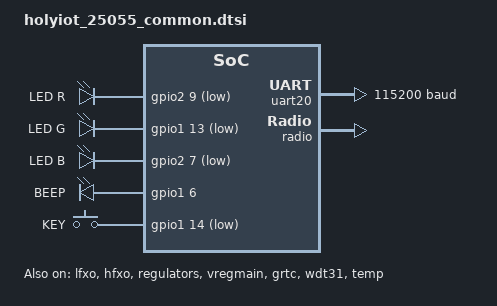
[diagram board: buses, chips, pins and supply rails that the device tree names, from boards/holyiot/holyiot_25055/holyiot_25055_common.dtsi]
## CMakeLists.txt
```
# SPDX-License-Identifier: Apache-2.0

cmake_minimum_required(VERSION 3.20.0)
find_package(Zephyr REQUIRED HINTS $ENV{ZEPHYR_BASE})
project(MockingBeacon)

# C sources (hardware drivers + GATT/BLE glue)
target_sources(app PRIVATE
    src/bq2512x.c
    src/watchdog.c
    src/lis2dw12.c
    src/gatt_glue.c
    src/ble_glue.c
)

# C++ sources
target_sources(app PRIVATE
    src/main.cpp
    src/beacon_logic.cpp
    src/accel_data.cpp
    src/beacon_config.cpp
    src/beacon_state.cpp
    src/zephyr_nvs.cpp
    src/zephyr_hardware.cpp
)

# Relax warnings on existing C code (pre-existing issues, will be replaced)
target_compile_options(app PRIVATE
    $<$<COMPILE_LANGUAGE:C>:
        -Wno-incompatible-pointer-types
    >
)

# C++ compiler flags
# Note: -Wpedantic omitted because Zephyr headers use C99 compound literals
# and named variadic macros which are invalid in strict C++.
# -Wcast-align, -Wconversion, -Wsign-conversion relaxed for Zephyr internal macros.
# -Wno-unused-parameter: Zephyr's flash.h:113 (flash_params_get_erase_cap)
# has a static inline whose body conditionally uses parameter `p` — when
# only FLASH_HAS_NO_EXPLICIT_ERASE is set (RRAM-only boards like the
# Holyiot 25055/nRF54L05, which have no external NOR flash), the fallback
# branch doesn't reference `p`. Treating that as a project-level error
# would block all RRAM-only board ports.
target_compile_options(app PRIVATE
    $<$<COMPILE_LANGUAGE:CXX>:
        -Wall -Wextra -Werror
        -Wno-missing-field-initializers
        -Wno-unused-parameter
        -fno-threadsafe-statics -fno-use-cxa-atexit
    >
)
```

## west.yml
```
manifest:
  remotes:
    - name: nrfconnect
      url-base: https://github.com/nrfconnect
  projects:
    - name: sdk-nrf
      remote: nrfconnect
      path: nrf
      revision: v3.4.2
      import: true
  self:
    path: mockingbeacon
```

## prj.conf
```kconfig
CONFIG_LOG=y
CONFIG_CONSOLE=y
CONFIG_USE_SEGGER_RTT=y
CONFIG_RTT_CONSOLE=y
CONFIG_ZMS_LOG_LEVEL_DBG=y

##CONFIG_LOG_MODE_IMMEDIATE=y

CONFIG_UART_CONSOLE=n
CONFIG_BT=y
CONFIG_BT_SETTINGS=n
CONFIG_BT_PRIVACY=n
CONFIG_BT_GATT_AUTHORIZATION_CUSTOM=y
CONFIG_SPI=n
CONFIG_PWM=n
##CONFIG_I2C=y

CONFIG_SERIAL=n
CONFIG_DYNAMIC_INTERRUPTS=n
CONFIG_IRQ_OFFLOAD=n
##CONFIG_THREAD_STACK_INFO=n
CONFIG_THREAD_CUSTOM_DATA=n
CONFIG_FPU=n
CONFIG_PM=y
CONFIG_PM_DEVICE=y
CONFIG_PM_DEVICE_RUNTIME=y
CONFIG_WATCHDOG=y
CONFIG_ADC=y
CONFIG_GPIO=y
##CONFIG_BOARD_ENABLE_DCDC=y
CONFIG_POWEROFF=y

CONFIG_NEWLIB_LIBC=y
CONFIG_NEWLIB_LIBC_NANO=y

CONFIG_BT_CTLR_TX_PWR_DYNAMIC_CONTROL=y
#CONFIG_CLOCK_CONTROL_NRF_K32SRC_RC=y
#CONFIG_CLOCK_CONTROL_NRF_K32SRC_500PPM=y

CONFIG_BT_PERIPHERAL=y

CONFIG_BT_DEBUG_NONE=y
CONFIG_BT_ASSERT=n
CONFIG_BT_DATA_LEN_UPDATE=n
CONFIG_BT_PHY_UPDATE=n
CONFIG_BT_GATT_CACHING=n
CONFIG_BT_GATT_SERVICE_CHANGED=n
CONFIG_BT_GAP_PERIPHERAL_PREF_PARAMS=y
##CONFIG_BT_HCI_VS_EXT=y
# Disable Bluetooth controller features not needed
CONFIG_BT_CTLR_PRIVACY=n
CONFIG_BT_CTLR_PHY_2M=n

# Reduce Bluetooth buffers

CONFIG_BT_BUF_EVT_DISCARDABLE_COUNT=1
CONFIG_BT_BUF_EVT_DISCARDABLE_SIZE=43
# Zephyr 4.x BUILD_ASSERT (include/zephyr/bluetooth/buf.h:168-172):
#   BT_BUF_EVT_RX_COUNT must be > BT_BUF_ACL_TX_COUNT (=3 below).
CONFIG_BT_BUF_EVT_RX_COUNT=4
##CONFIG_BT_CONN_TX_MAX=2
CONFIG_BT_L2CAP_TX_BUF_COUNT=2
##CONFIG_BT_CTLR_RX_BUFFERS=2
CONFIG_BT_BUF_ACL_TX_COUNT=3
CONFIG_BT_BUF_ACL_TX_SIZE=27
#CONFIG_BT_BUF_ACL_RX_SIZE=27

CONFIG_BT_RX_STACK_SIZE=1024
CONFIG_BT_HCI_TX_STACK_SIZE=640
CONFIG_SYSTEM_WORKQUEUE_STACK_SIZE=1024
CONFIG_MAIN_STACK_SIZE=1024
CONFIG_IDLE_STACK_SIZE=128
CONFIG_ISR_STACK_SIZE=1024

CONFIG_FLASH=y
# NCS 3.2+ no longer auto-selects FLASH_MAP from FLASH; ZMS depends on it.
CONFIG_FLASH_MAP=y
# ZMS settings backend (explicit enable + NVS disable). NCS 3.0+ makes ZMS
# the default for Cortex-M; we pin both to avoid silent default flips.
# CONFIG_SETTINGS_ZMS_MAX_COLLISIONS_BITS is N/A for this firmware — we
# use direct zms_read()/zms_write() with hand-assigned uint16_t IDs
# (src/beacon_nvs_ids.hpp), not the BT_SETTINGS framework.
CONFIG_ZMS=y
CONFIG_NVS=n
CONFIG_ZMS_LOOKUP_CACHE=y
# ZMS_LOOKUP_CACHE_FOR_SETTINGS removed: depends on SETTINGS_ZMS which
# requires BT_SETTINGS (we have BT_SETTINGS=n). Was silently ignored in
# NCS 3.0-3.1; NCS 3.2 treats it as an error.
# 128 B RAM on nrf52810 (16 × 8 B/entry). Bump to 64 on nrf54l15 only
# (512 B) via board overlay if settings lookup becomes hot.
CONFIG_ZMS_LOOKUP_CACHE_SIZE=16
CONFIG_REBOOT=y
CONFIG_MPU_ALLOW_FLASH_WRITE=y

# RAM/flash savers for Zephyr 4.x defaults (per migration plan §1d):
# - LOG_BUFFER_SIZE: default rose to 1024 in 4.x; 512 saves ~512 B bss.
# - CBPRINTF_REDUCED_INTEGRAL: drop 64-bit printf paths; ~400-800 B text.
# - BT_HCI_ACL_FLOW_CONTROL: needed only for >1 conn; ~150 B for our 1-conn case.
# - BT_LONG_WQ: defaults n (BT_GATT_CACHING=n above); explicit pin against
#   future Kconfig flips; ~1 KB if it ever auto-enables.
CONFIG_LOG_BUFFER_SIZE=512
CONFIG_CBPRINTF_REDUCED_INTEGRAL=y
CONFIG_BT_HCI_ACL_FLOW_CONTROL=n
CONFIG_BT_LONG_WQ=n
# Plan §1g additional levers (post-stack-pinning audit):
# - BT_CTLR_DUP_FILTER_LEN=0: scanner-only feature; BT_OBSERVER=n here
#   (we're peripheral-only). Saves ~200-400 B bss on nrf52810.
# Note: plan also suggested CONFIG_BT_CONN_TX_MAX=2 but Kconfig minimum
# is 3 in NCS 3.0.2 (range [3, 255] at subsys/bluetooth/host/Kconfig:330).
CONFIG_BT_CTLR_DUP_FILTER_LEN=0

# C++ support
CONFIG_CPP=y
CONFIG_STD_CPP20=y
CONFIG_GLIBCXX_LIBCPP=y
CONFIG_CPP_EXCEPTIONS=n
CONFIG_CPP_RTTI=n
```

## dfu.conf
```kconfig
# MCUmgr/MCUboot OTA overlay — use via EXTRA_CONF_FILE=dfu.conf
# For boards with >= 512KB flash (nRF52832, nRF52833, nRF54L15).
# Composes with prj.conf or prj-lowpower.conf; do NOT use standalone.
#
# Reference: zephyr/samples/subsys/mgmt/mcumgr/smp_svr/
#   prj.conf (core MCUmgr) + overlay-bt.conf (BLE transport)

# MCUmgr core + dependencies (from smp_svr/prj.conf)
CONFIG_NET_BUF=y
CONFIG_ZCBOR=y
CONFIG_CRC=y
CONFIG_MCUMGR=y
CONFIG_STREAM_FLASH=y
CONFIG_FLASH_MAP=y
CONFIG_BOOTLOADER_MCUBOOT=y

# Image management (upload, list, confirm, erase)
CONFIG_IMG_MANAGER=y
CONFIG_MCUMGR_GRP_IMG=y

# OS management (reset after upload)
CONFIG_MCUMGR_GRP_OS=y
# Note: CONFIG_MCUMGR_GRP_OS_RESET_NOTIFICATION not available in NCS 2.8.0

# Larger stacks for image hashing/flash writes (from smp_svr/prj.conf)
CONFIG_SYSTEM_WORKQUEUE_STACK_SIZE=2304
CONFIG_MAIN_STACK_SIZE=2048

# BLE transport (from smp_svr/overlay-bt.conf)
CONFIG_MCUMGR_TRANSPORT_BT=y
CONFIG_MCUMGR_TRANSPORT_BT_CONN_PARAM_CONTROL=y

# Large BT buffers for SMP throughput
CONFIG_BT_L2CAP_TX_MTU=498
CONFIG_BT_BUF_ACL_RX_SIZE=502
CONFIG_BT_BUF_ACL_TX_SIZE=502
# BT_CTLR_DATA_LENGTH_MAX=251 requires BT_LL_SW_SPLIT; SDC handles this internally

# SMP reassembly: 5 BLE writes at MTU 498 (from smp_svr/overlay-bt.conf)
CONFIG_MCUMGR_TRANSPORT_BT_REASSEMBLY=y
CONFIG_MCUMGR_TRANSPORT_NETBUF_SIZE=2475
CONFIG_MCUMGR_GRP_OS_MCUMGR_PARAMS=y
CONFIG_MCUMGR_TRANSPORT_WORKQUEUE_STACK_SIZE=4608

# Dynamic SMP service registration — unregistered at boot, only active
# during FirmwareUpload state (security: prevents unauthenticated access).
# Requires BT_GATT_SERVICE_CHANGED (overrides prj.conf's =n).
CONFIG_BT_GATT_SERVICE_CHANGED=y
CONFIG_BT_GATT_DYNAMIC_DB=y
CONFIG_MCUMGR_TRANSPORT_BT_DYNAMIC_SVC_REGISTRATION=y

# Flash write permission (needed for image slot writes)
CONFIG_MPU_ALLOW_FLASH_WRITE=y
```

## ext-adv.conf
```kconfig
# Extended advertising — boards with >= 64 KB RAM only.
# nrf52810 (24 KB) overflows by ~2 KB with SDC multirole variant.
CONFIG_BT_EXT_ADV=y
CONFIG_BT_EXT_ADV_MAX_ADV_SET=2
CONFIG_BT_BUF_EVT_DISCARDABLE_SIZE=58
```

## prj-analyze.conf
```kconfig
CONFIG_LOG=y
CONFIG_CONSOLE=y
CONFIG_USE_SEGGER_RTT=y
CONFIG_RTT_CONSOLE=y
CONFIG_NVS_LOG_LEVEL_DBG=y

CONFIG_THREAD_ANALYZER=y
CONFIG_THREAD_ANALYZER_USE_PRINTK=y
CONFIG_THREAD_ANALYZER_AUTO=y
CONFIG_THREAD_ANALYZER_AUTO_INTERVAL=10
CONFIG_THREAD_NAME=y
CONFIG_THREAD_MONITOR=y
CONFIG_THREAD_RUNTIME_STATS=y

CONFIG_NEWLIB_LIBC=y
CONFIG_NEWLIB_LIBC_NANO=y
CONFIG_RAM_POWER_DOWN_LIBRARY=y
CONFIG_RAM_POWER_ADJUST_ON_HEAP_RESIZE=y


##CONFIG_LOG_MODE_IMMEDIATE=y

CONFIG_UART_CONSOLE=n
CONFIG_BT=y
CONFIG_BT_SETTINGS=n
CONFIG_BT_PRIVACY=n
CONFIG_BT_GATT_AUTHORIZATION_CUSTOM=y
CONFIG_SPI=n
CONFIG_PWM=n
##CONFIG_I2C=y

CONFIG_SERIAL=n
CONFIG_DYNAMIC_INTERRUPTS=n
CONFIG_IRQ_OFFLOAD=n
##CONFIG_THREAD_STACK_INFO=n
CONFIG_THREAD_CUSTOM_DATA=n
CONFIG_FPU=n
CONFIG_PM=y
CONFIG_PM_DEVICE=y
CONFIG_PM_DEVICE_RUNTIME=y
CONFIG_WATCHDOG=y
CONFIG_ADC=y
CONFIG_GPIO=y
##CONFIG_BOARD_ENABLE_DCDC=y
CONFIG_POWEROFF=y

CONFIG_BT_CTLR_TX_PWR_DYNAMIC_CONTROL=y
#CONFIG_CLOCK_CONTROL_NRF_K32SRC_RC=y
#CONFIG_CLOCK_CONTROL_NRF_K32SRC_500PPM=y

CONFIG_BT_PERIPHERAL=y

CONFIG_BT_DEBUG_NONE=y
CONFIG_BT_ASSERT=n
CONFIG_BT_DATA_LEN_UPDATE=n
CONFIG_BT_PHY_UPDATE=n
CONFIG_BT_GATT_CACHING=n
CONFIG_BT_GATT_SERVICE_CHANGED=n
CONFIG_BT_GAP_PERIPHERAL_PREF_PARAMS=y
CONFIG_BT_SETTINGS_CCC_LAZY_LOADING=n
##CONFIG_BT_HCI_VS_EXT=y
# Disable Bluetooth controller features not needed
CONFIG_BT_CTLR_PRIVACY=n
CONFIG_BT_CTLR_PHY_2M=n

# Reduce Bluetooth buffers

CONFIG_BT_BUF_EVT_DISCARDABLE_COUNT=1
CONFIG_BT_BUF_EVT_DISCARDABLE_SIZE=43
CONFIG_BT_BUF_EVT_RX_COUNT=2
##CONFIG_BT_CONN_TX_MAX=2
CONFIG_BT_L2CAP_TX_BUF_COUNT=2
##CONFIG_BT_CTLR_RX_BUFFERS=2
CONFIG_BT_BUF_ACL_TX_COUNT=3
CONFIG_BT_BUF_ACL_TX_SIZE=27
#CONFIG_BT_BUF_ACL_RX_SIZE=27

CONFIG_BT_RX_STACK_SIZE=1024
CONFIG_BT_HCI_TX_STACK_SIZE_WITH_PROMPT=y
CONFIG_BT_HCI_TX_STACK_SIZE=640
CONFIG_SYSTEM_WORKQUEUE_STACK_SIZE=1024
CONFIG_MAIN_STACK_SIZE=1024
CONFIG_IDLE_STACK_SIZE=128
CONFIG_ISR_STACK_SIZE=1024

CONFIG_FLASH=y
CONFIG_NVS=y
CONFIG_REBOOT=y
CONFIG_MPU_ALLOW_FLASH_WRITE=y
CONFIG_MCUMGR=n
CONFIG_BOOTLOADER_MCUBOOT=n

# C++ support
CONFIG_CPP=y
CONFIG_STD_CPP20=y
CONFIG_GLIBCXX_LIBCPP=y
CONFIG_CPP_EXCEPTIONS=n
CONFIG_CPP_RTTI=n
```

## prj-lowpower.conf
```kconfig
# Release/production overlay — apply via -DEXTRA_CONF_FILE=prj-lowpower.conf
# on top of prj.conf. Strips logging + RTT subsystem (saves ~21 KB of flash).
#
# Note: do NOT set CONFIG_GPIO=n here — main.cpp references LED GPIO devices
# unconditionally, and the board defconfig auto-enables GPIO for Nordic SoCs.

CONFIG_LOG=n
CONFIG_CONSOLE=n
CONFIG_USE_SEGGER_RTT=n
CONFIG_RTT_CONSOLE=n
CONFIG_ZMS_LOG_LEVEL_DBG=n
```

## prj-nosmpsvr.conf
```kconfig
# Enable MCUmgr and dependencies.
CONFIG_LOG=y
CONFIG_CONSOLE=y
CONFIG_USE_SEGGER_RTT=y
CONFIG_RTT_CONSOLE=y
CONFIG_NVS_LOG_LEVEL_DBG=y

CONFIG_UART_CONSOLE=n

CONFIG_NET_BUF=n
CONFIG_ZCBOR=n
CONFIG_CRC=y
CONFIG_MCUMGR=n
CONFIG_STREAM_FLASH=n
CONFIG_FLASH_MAP=y

# Some command handlers require a large stack.
CONFIG_SYSTEM_WORKQUEUE_STACK_SIZE=2304
CONFIG_MAIN_STACK_SIZE=2176

# Ensure an MCUboot-compatible binary is generated.
CONFIG_BOOTLOADER_MCUBOOT=n

# Enable flash operations.
CONFIG_FLASH=y

# Required by the `taskstat` command.
CONFIG_THREAD_MONITOR=n

# Support for taskstat command
CONFIG_MCUMGR_GRP_OS_TASKSTAT=n

# Enable statistics and statistic names.
CONFIG_STATS=n
CONFIG_STATS_NAMES=n

# Enable most core commands.
CONFIG_FLASH=y
CONFIG_IMG_MANAGER=n
CONFIG_MCUMGR_GRP_IMG=n
CONFIG_MCUMGR_GRP_OS=n
CONFIG_MCUMGR_GRP_STAT=n

# Enable logging
CONFIG_LOG=y
CONFIG_MCUBOOT_UTIL_LOG_LEVEL_WRN=n

# Disable debug logging
CONFIG_LOG_MAX_LEVEL=3

CONFIG_BT=y
CONFIG_BT_PERIPHERAL=y
CONFIG_BT_GATT_AUTHORIZATION_CUSTOM=y

# Allow for large Bluetooth data packets.
CONFIG_BT_L2CAP_TX_MTU=498
CONFIG_BT_BUF_ACL_RX_SIZE=502
CONFIG_BT_BUF_ACL_TX_SIZE=502
CONFIG_BT_CTLR_DATA_LENGTH_MAX=251

# Enable the Bluetooth mcumgr transport (unauthenticated).
CONFIG_MCUMGR_TRANSPORT_BT=y
CONFIG_MCUMGR_TRANSPORT_BT_CONN_PARAM_CONTROL=y

# Enable the Shell mcumgr transport.
CONFIG_BASE64=y
CONFIG_CRC=y
CONFIG_SHELL=n
CONFIG_SHELL_BACKEND_SERIAL=n
CONFIG_MCUMGR_TRANSPORT_SHELL=y

# Enable the mcumgr Packet Reassembly feature over Bluetooth and its configuration dependencies.
# MCUmgr buffer size is optimized to fit one SMP packet divided into five Bluetooth Write Commands,
# transmitted with the maximum possible MTU value: 498 bytes.
CONFIG_MCUMGR_TRANSPORT_BT_REASSEMBLY=y
CONFIG_MCUMGR_TRANSPORT_NETBUF_SIZE=2475
CONFIG_MCUMGR_GRP_OS_MCUMGR_PARAMS=y
CONFIG_MCUMGR_TRANSPORT_WORKQUEUE_STACK_SIZE=4608

# Enable the LittleFS file system.
CONFIG_FILE_SYSTEM=n
CONFIG_FILE_SYSTEM_LITTLEFS=n

# Enable file system commands
CONFIG_MCUMGR_GRP_FS=y

# Enable the storage erase command.
CONFIG_MCUMGR_GRP_ZBASIC=y
CONFIG_MCUMGR_GRP_ZBASIC_STORAGE_ERASE=n

# Disable Bluetooth ping support
CONFIG_BT_CTLR_LE_PING=n

# Disable shell commands that are not needed
CONFIG_CLOCK_CONTROL_NRF_SHELL=n
CONFIG_DEVICE_SHELL=n
CONFIG_DEVMEM_SHELL=n
CONFIG_FLASH_SHELL=n
CONFIG_BT_CTLR_TX_PWR_DYNAMIC_CONTROL=y
CONFIG_PM=y
CONFIG_PM_DEVICE=y
CONFIG_PM_DEVICE_RUNTIME=y
CONFIG_WATCHDOG=y
CONFIG_ADC=y
CONFIG_GPIO=y
CONFIG_POWEROFF=y
CONFIG_NVS=y
CONFIG_REBOOT=y
CONFIG_MPU_ALLOW_FLASH_WRITE=y

CONFIG_SPI=n
CONFIG_PWM=n
CONFIG_SERIAL=n
CONFIG_DYNAMIC_INTERRUPTS=n
CONFIG_IRQ_OFFLOAD=n
##CONFIG_THREAD_STACK_INFO=n
CONFIG_THREAD_CUSTOM_DATA=n
CONFIG_FPU=n

# C++ support
CONFIG_CPP=y
CONFIG_STD_CPP20=y
CONFIG_GLIBCXX_LIBCPP=y
CONFIG_CPP_EXCEPTIONS=n
CONFIG_CPP_RTTI=n
```

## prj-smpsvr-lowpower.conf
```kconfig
# Enable MCUmgr and dependencies.
CONFIG_LOG=n
CONFIG_CONSOLE=n
CONFIG_USE_SEGGER_RTT=n
CONFIG_RTT_CONSOLE=n
CONFIG_NVS_LOG_LEVEL_DBG=n

CONFIG_UART_CONSOLE=n

CONFIG_NET_BUF=y
CONFIG_ZCBOR=y
CONFIG_CRC=y
CONFIG_MCUMGR=y
CONFIG_STREAM_FLASH=y
CONFIG_FLASH_MAP=y

CONFIG_NEWLIB_LIBC=y
CONFIG_NEWLIB_LIBC_NANO=y
CONFIG_RAM_POWER_DOWN_LIBRARY=y
CONFIG_RAM_POWER_ADJUST_ON_HEAP_RESIZE=y

# Some command handlers require a large stack.
CONFIG_SYSTEM_WORKQUEUE_STACK_SIZE=2304
CONFIG_MAIN_STACK_SIZE=2176

# Ensure an MCUboot-compatible binary is generated.
CONFIG_BOOTLOADER_MCUBOOT=y

# Enable flash operations.
CONFIG_FLASH=y

# Required by the `taskstat` command.
CONFIG_THREAD_MONITOR=y

# Support for taskstat command
CONFIG_MCUMGR_GRP_OS_TASKSTAT=y

# Enable statistics and statistic names.
CONFIG_STATS=y
CONFIG_STATS_NAMES=y

# Enable most core commands.
CONFIG_FLASH=y
CONFIG_IMG_MANAGER=y
CONFIG_MCUMGR_GRP_IMG=y
CONFIG_MCUMGR_GRP_OS=y
CONFIG_MCUMGR_GRP_STAT=y

# Enable logging
CONFIG_LOG=y
CONFIG_MCUBOOT_UTIL_LOG_LEVEL_WRN=y

# Disable debug logging
CONFIG_LOG_MAX_LEVEL=3

CONFIG_BT=y
CONFIG_BT_PERIPHERAL=y
CONFIG_BT_GATT_AUTHORIZATION_CUSTOM=y

# Allow for large Bluetooth data packets.
CONFIG_BT_L2CAP_TX_MTU=498
CONFIG_BT_BUF_ACL_RX_SIZE=502
CONFIG_BT_BUF_ACL_TX_SIZE=502
CONFIG_BT_CTLR_DATA_LENGTH_MAX=251

# Enable the Bluetooth mcumgr transport (unauthenticated).
CONFIG_MCUMGR_TRANSPORT_BT=y
CONFIG_MCUMGR_TRANSPORT_BT_CONN_PARAM_CONTROL=y

# Enable the Shell mcumgr transport.
CONFIG_BASE64=y
CONFIG_CRC=y
CONFIG_SHELL=n
CONFIG_SHELL_BACKEND_SERIAL=n
CONFIG_MCUMGR_TRANSPORT_SHELL=y

# Enable the mcumgr Packet Reassembly feature over Bluetooth and its configuration dependencies.
# MCUmgr buffer size is optimized to fit one SMP packet divided into five Bluetooth Write Commands,
# transmitted with the maximum possible MTU value: 498 bytes.
CONFIG_MCUMGR_TRANSPORT_BT_REASSEMBLY=y
CONFIG_MCUMGR_TRANSPORT_NETBUF_SIZE=2475
CONFIG_MCUMGR_GRP_OS_MCUMGR_PARAMS=y
CONFIG_MCUMGR_TRANSPORT_WORKQUEUE_STACK_SIZE=4608

# Enable the LittleFS file system.
CONFIG_FILE_SYSTEM=n
CONFIG_FILE_SYSTEM_LITTLEFS=n

# Enable file system commands
CONFIG_MCUMGR_GRP_FS=y

# Enable the storage erase command.
CONFIG_MCUMGR_GRP_ZBASIC=y
CONFIG_MCUMGR_GRP_ZBASIC_STORAGE_ERASE=n

# Disable Bluetooth ping support
CONFIG_BT_CTLR_LE_PING=n

# Disable shell commands that are not needed
CONFIG_CLOCK_CONTROL_NRF_SHELL=n
CONFIG_DEVICE_SHELL=n
CONFIG_DEVMEM_SHELL=n
CONFIG_FLASH_SHELL=n
CONFIG_BT_CTLR_TX_PWR_DYNAMIC_CONTROL=y
CONFIG_PM=y
CONFIG_PM_DEVICE=y
CONFIG_PM_DEVICE_RUNTIME=y
CONFIG_WATCHDOG=y
CONFIG_ADC=y
CONFIG_GPIO=y
CONFIG_POWEROFF=y
CONFIG_NVS=y
CONFIG_REBOOT=y
CONFIG_MPU_ALLOW_FLASH_WRITE=y


CONFIG_SPI=n
CONFIG_PWM=n
CONFIG_SERIAL=n
CONFIG_DYNAMIC_INTERRUPTS=n
CONFIG_IRQ_OFFLOAD=n
##CONFIG_THREAD_STACK_INFO=n
CONFIG_THREAD_CUSTOM_DATA=n
CONFIG_FPU=n

# C++ support
CONFIG_CPP=y
CONFIG_STD_CPP20=y
CONFIG_GLIBCXX_LIBCPP=y
CONFIG_CPP_EXCEPTIONS=n
CONFIG_CPP_RTTI=n
```

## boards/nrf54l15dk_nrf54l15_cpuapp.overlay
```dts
/ {
  aliases {
    watchdog0 = &wdt31;
  };

  zephyr,user {
    io-channels = <&adc 0>;
  };
};

&adc {
  #address-cells = <1>;
  #size-cells = <0>;
  status="okay";

  channel@0 {
    reg = <0>;
    zephyr,gain = "ADC_GAIN_1_4";
    zephyr,reference = "ADC_REF_INTERNAL";
    zephyr,acquisition-time = <ADC_ACQ_TIME_DEFAULT>;
    zephyr,input-positive = <NRF_SAADC_VDD>;
    zephyr,resolution = <14>;
    zephyr,oversampling = <8>;
  };

  zephyr,pm-device-runtime-auto;
};

&wdt31 {
	status = "okay";
};
```

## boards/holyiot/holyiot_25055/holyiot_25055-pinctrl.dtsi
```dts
/*
 * SPDX-License-Identifier: Apache-2.0
 *
 * Holyiot 25055 pin assignments:
 *   TXD = P1.04 (AIN0)
 *   RXD = P1.05 (AIN1)
 *
 * BEEP/buzzer = P1.06 (AIN2) — driven directly via GPIO
 *   (no PWM pinctrl needed; gpio-leds compatible declared in board common dtsi).
 */

&pinctrl {
	/omit-if-no-ref/ uart20_default: uart20_default {
		group1 {
			psels = <NRF_PSEL(UART_TX, 1, 4)>;
		};
		group2 {
			psels = <NRF_PSEL(UART_RX, 1, 5)>;
			bias-pull-up;
		};
	};

	/omit-if-no-ref/ uart20_sleep: uart20_sleep {
		group1 {
			psels = <NRF_PSEL(UART_TX, 1, 4)>,
				<NRF_PSEL(UART_RX, 1, 5)>;
			low-power-enable;
		};
	};
};
```

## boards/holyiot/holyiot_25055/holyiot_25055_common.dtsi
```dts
/*
 * SPDX-License-Identifier: Apache-2.0
 *
 * Common board features for the Holyiot 25055 (round nRF54L05 beacon).
 *
 * Pin assignments verified against schematic 25055-B1-S-SCH.pdf (V1.0):
 *   LED_R   = P2.09  (LED1 pin 1, via R7 1K)
 *   LED_G   = P1.13  (LED1 pin 4, via R8 1K)  — note: AIN6
 *   LED_B   = P2.07  (LED1 pin 3, via R2 1K)
 *   BUTTON  = P1.14  (S1, with 100K pull-up R3 to VCC) — note: AIN7
 *   BEEP    = P1.06  (piezo buzzer driver) — note: AIN2; unique to 25055
 *
 * Accelerometer: SDI/SDO/SCK/CS/INT1/INT2 nets are routed on the PCB but
 * V1.0 of the 25055 does NOT populate the LIS2DH12 chip (verified by
 * board photo + product description). The signals are exposed for a
 * future-rev variant. Do not add an accelerometer child node here.
 */

#include "holyiot_25055-pinctrl.dtsi"

/ {
	leds {
		compatible = "gpio-leds";

		/*
		 * Multiple node labels per node:
		 *   `led0:` is the firmware contract (DT_NODELABEL(led0) in
		 *   src/zephyr_hardware.cpp:68 — required when CONFIG_GPIO=y).
		 *   `led_red:` is the upstream-Holyiot-style descriptive label.
		 */
		led0: led_red: led_r {
			gpios = <&gpio2 9 GPIO_ACTIVE_LOW>;
			label = "LED R";
		};

		led_green: led_g {
			gpios = <&gpio1 13 GPIO_ACTIVE_LOW>;
			label = "LED G";
		};

		led_blue: led_b {
			gpios = <&gpio2 7 GPIO_ACTIVE_LOW>;
			label = "LED B";
		};

		buzzer: buzzer {
			gpios = <&gpio1 6 GPIO_ACTIVE_HIGH>;
			label = "BEEP";
		};
	};

	buttons {
		compatible = "gpio-keys";

		button0: button_0 {
			gpios = <&gpio1 14 (GPIO_PULL_UP | GPIO_ACTIVE_LOW)>;
			label = "KEY";
			zephyr,code = <INPUT_KEY_0>;
		};
	};

	aliases {
		led0 = &led_red;
		led1 = &led_green;
		led2 = &led_blue;
		led0-red = &led_red;
		led0-green = &led_green;
		led0-blue = &led_blue;
		sw0 = &button0;
		watchdog0 = &wdt31;
		mcuboot-led0 = &led_red;
		mcuboot-button0 = &button0;
		/*
		 * No accel0 alias — 25055 V1.0 has no LIS2DH12 populated.
		 * Everytag firmware's movement-tracking status-byte telemetry
		 * will report "no movement" on this board.
		 */
	};
};

&uart20 {
	current-speed = <115200>;
	pinctrl-0 = <&uart20_default>;
	pinctrl-1 = <&uart20_sleep>;
	pinctrl-names = "default", "sleep";
	status = "okay";
};

&cpuapp_sram {
	status = "okay";
};

&lfxo {
	load-capacitors = "internal";
	load-capacitance-femtofarad = <16000>;
	status = "okay";
};

&hfxo {
	load-capacitors = "internal";
	load-capacitance-femtofarad = <15000>;
	status = "okay";
};

&regulators {
	status = "okay";
};

&vregmain {
	status = "okay";
	regulator-initial-mode = <NRF5X_REG_MODE_DCDC>;
};

&grtc {
	owned-channels = <0 1 2 3 4 5 6 7 8 9 10 11>;
	/* Channels 7-11 reserved for Zero Latency IRQs, 3-4 for FLPR */
	child-owned-channels = <3 4 7 8 9 10 11>;
	status = "okay";
};

&gpio0 {
	status = "okay";
};

&gpio1 {
	status = "okay";
};

&gpio2 {
	status = "okay";
};

&gpiote20 {
	status = "okay";
};

&gpiote30 {
	status = "okay";
};

&wdt31 {
	status = "okay";
};

&radio {
	status = "okay";
};

&temp {
	status = "okay";
};

&clock {
	status = "okay";
};
```

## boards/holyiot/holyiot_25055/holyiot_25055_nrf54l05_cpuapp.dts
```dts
/*
 * SPDX-License-Identifier: Apache-2.0
 */

/dts-v1/;
#include <nordic/nrf54l05_cpuapp.dtsi>
#include "holyiot_25055_common.dtsi"

/ {
	model = "HOLYIOT 25055 nRF54L05 Application";
	compatible = "holyiot,holyiot_25055-nrf54l05-cpuapp";

	chosen {
		zephyr,console = &uart20;
		zephyr,shell-uart = &uart20;
		zephyr,uart-mcumgr = &uart20;
		zephyr,bt-mon-uart = &uart20;
		zephyr,bt-c2h-uart = &uart20;
		zephyr,flash-controller = &rram_controller;
		zephyr,flash = &cpuapp_rram;
		zephyr,code-partition = &slot0_partition;
		zephyr,sram = &cpuapp_sram;
	};
};

/* Default L05 partition layout (mcuboot 64K + slot0 200K + slot1 200K + storage 36K = 500K). */
#include <nordic/nrf54l05_partition.dtsi>
```

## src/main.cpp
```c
// main.cpp -- New entry point for Everytag firmware (C++ state machine)

#include "accel_data.hpp"
#include "beacon_config.hpp"
#include "beacon_state.hpp"
#include "zephyr_hardware.hpp"
#include "zephyr_nvs.hpp"

#include "myboards.h"

extern "C" {
extern int accelThreshold; // defined in zephyr_hardware.cpp, used by lis2dw12.c
#include "gatt_glue.h"
#include "watchdog.h"
#ifdef USE_BUTTON
#include <zephyr/drivers/gpio.h>
#endif
#ifdef HAS_LED1_SWITCH
#include <zephyr/drivers/gpio.h>
#endif
#include <zephyr/kernel.h>
#include <zephyr/sys/printk.h>
}

// GPIO specs needed for button and LED1 gate initialization
#ifdef USE_BUTTON
static const struct gpio_dt_spec sw0 = GPIO_DT_SPEC_GET(DT_ALIAS(sw0), gpios);
#endif
#ifdef HAS_LED1_SWITCH
#define LED1_NODE DT_NODELABEL(led1)
static const struct gpio_dt_spec gate_spec = GPIO_DT_SPEC_GET(LED1_NODE, gpios);
#endif

int main(void) {
    // All objects are static to avoid stack overflow (main stack is 1024 bytes)
    static beacon::ZephyrNvsStorage nvs;
    static beacon::SettingsManager settings(nvs);
    static beacon::MovementTracker accel;
    static beacon::ZephyrHardware hw(settings);
    static beacon::StateMachine sm(hw, settings, accel);

    my_wdt_init();
    printk("Beacon starting (C++)\n");

#ifdef USE_BUTTON
    // Configure button pin
    int err = gpio_pin_configure_dt(&sw0, GPIO_INPUT);
    if (err < 0) {
        printk("Could not configure sw0 GPIO (%d)\n", err);
        return 0;
    }
#endif

#ifdef HAS_LED1_SWITCH
    // Turn off mosfet
    gpio_pin_configure_dt(&gate_spec, GPIO_OUTPUT_ACTIVE);
#endif

    // Initialize NVS and load settings (continue with defaults on failure)
    if (nvs.init() != 0) {
        printk("Warning: NVS init failed, using defaults\n");
    }
    if (settings.load() != 0) {
        printk("Warning: settings load failed, using defaults\n");
    }

    // Sync the C global used by lis2dw12.c (NVS may have loaded a different threshold)
    accelThreshold = static_cast<int>(settings.config().accel_threshold);

    // Set up GATT glue pointers
    glue_init(&settings, &sm);

    // Run the state machine
    sm.initialize();

    while (true) {
        // Sync GATT connection state into state machine before each tick
        glue_sync_gatt_state(&sm);
        sm.tick();
    }

    return 0;
}
```

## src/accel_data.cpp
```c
// accel_data.cpp — Movement tracking with circular buffer
#include "accel_data.hpp"

#include <cstdlib>
#include <cstring>

namespace beacon {

void MovementTracker::record_reading(const int16_t samples[][3], int count, int threshold,
                                     uint32_t uptime_sec) {
    // Determine starting index for comparison.
    // If we have no previous reading, skip the first comparison
    // (start from index 2 instead of 1).
    int first = has_previous_ ? 1 : 2;

    // The original C code stores the previous last sample in samples[0]
    // and reads new data into samples[1..32]. We replicate that logic:
    // compare using last_sample_ as the "previous" for samples[1],
    // then consecutive pairs within samples[].

    int movements = 0;
    for (int i = first; i < count; i++) {
        const int16_t* prev = (i == 1) ? last_sample_ : samples[i - 1]; // NOLINT
        if (std::abs(prev[0] - samples[i][0]) > threshold ||
            std::abs(prev[1] - samples[i][1]) > threshold ||
            std::abs(prev[2] - samples[i][2]) > threshold) {
            movements++;
        }
    }

    // Shift 20-second array right by 1
    std::memmove(moves20_ + 1, moves20_, static_cast<size_t>(kMoves20Size - 1));
    moves20_[0] = (movements > 1) ? 1 : 0;

    // Check if we need to shift the 300-second (5-minute) array
    if (uptime_sec > last_shift_time_ + 300) {
        std::memmove(moves300_ + 1, moves300_, static_cast<size_t>(kMoves300Size - 1));
        last_shift_time_ = uptime_sec;
    }

    // Update first two elements of moves300_ from moves20_
    moves300_[0] = 0;
    moves300_[1] = 0;
    for (int i = 0; i < 15; i++) {
        if (moves20_[i] != 0) {
            moves300_[0] = 1;
            break;
        }
    }
    for (int i = 15; i < kMoves20Size; i++) {
        if (moves20_[i] != 0) {
            moves300_[1] = 1;
            break;
        }
    }

    // Save last sample for next call
    if (count > 0) {
        last_sample_[0] = samples[count - 1][0];
        last_sample_[1] = samples[count - 1][1];
        last_sample_[2] = samples[count - 1][2];
        has_previous_ = true;
    }
}

bool MovementTracker::has_movement(int start_min, int end_min) const {
    int start = start_min / 5;
    int end = (end_min + 4) / 5;

    if (start < 0 || start >= kMoves300Size) {
        start = 0;
    }
    if (end < 0 || end > kMoves300Size) {
        end = kMoves300Size;
    }

    for (int i = start; i < end; i++) {
        if (moves300_[i] > 0) {
            return true;
        }
    }
    return false;
}

uint8_t MovementTracker::compute_accel_byte() const {
    uint8_t res = 0;

    // bit 0: movements in 0..10 minutes
    if (has_movement(0, 10)) {
        res |= 0x01;
    }
    // bit 1: 10..30 minutes
    if (has_movement(10, 30)) {
        res |= 0x02;
    }
    // bit 2: 30..60 minutes
    if (has_movement(30, 60)) {
        res |= 0x04;
    }
    // bit 3: 1..3 hours
    if (has_movement(60, 180)) {
        res |= 0x08;
    }
    // bit 4: 3..6 hours
    if (has_movement(180, 360)) {
        res |= 0x10;
    }
    // bit 5: 6..12 hours
    if (has_movement(360, 720)) {
        res |= 0x20;
    }
    // bit 6: 12..24 hours
    if (has_movement(720, 1440)) {
        res |= 0x40;
    }

    return res;
}

} // namespace beacon
```

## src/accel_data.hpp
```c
// accel_data.hpp — Movement tracking with circular buffer
#ifndef ACCEL_DATA_HPP
#define ACCEL_DATA_HPP

#include <cstdint>

namespace beacon {

class MovementTracker {
  public:
    /// Process a batch of accelerometer FIFO samples.
    /// @param samples   Nx3 array of int16_t (X,Y,Z per sample)
    /// @param count     number of samples (typically 33)
    /// @param threshold per-axis movement threshold
    /// @param uptime_sec current uptime in seconds
    void record_reading(const int16_t samples[][3], int count, int threshold, uint32_t uptime_sec);

    /// Check whether movement was detected in a time window.
    /// @param start_min  start of window in minutes from now
    /// @param end_min    end of window in minutes from now
    /// @return true if any 5-minute slot in the range recorded movement
    bool has_movement(int start_min, int end_min) const;

    /// Compute a 7-bit movement summary byte (from calc_accel_byte in main.c).
    /// Each bit covers a progressively longer time window:
    ///   bit 0: movement in  0..10 minutes
    ///   bit 1: movement in 10..30 minutes
    ///   bit 2: movement in 30..60 minutes
    ///   bit 3: movement in  1..3 hours
    ///   bit 4: movement in  3..6 hours
    ///   bit 5: movement in  6..12 hours
    ///   bit 6: movement in 12..24 hours
    uint8_t compute_accel_byte() const;

    /// Get the most recent accelerometer temperature reading.
    int16_t temperature() const { return temperature_; }

    /// Set the accelerometer temperature (read separately via I2C).
    void set_temperature(int16_t t) { temperature_ = t; }

    // Expose internal state for testing
    const uint8_t* moves20() const { return moves20_; }
    const uint8_t* moves300() const { return moves300_; }

    static constexpr int kMoves20Size = 30;
    static constexpr int kMoves300Size = 288;

  private:
    uint8_t moves20_[kMoves20Size] = {};
    uint8_t moves300_[kMoves300Size] = {};
    int16_t last_sample_[3] = {};
    bool has_previous_ = false;
    int16_t temperature_ = 0;
    uint32_t last_shift_time_ = 0;
};

} // namespace beacon

#endif // ACCEL_DATA_HPP
```

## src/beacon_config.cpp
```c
// beacon_config.cpp — Settings, NVS persistence, GATT validation
#include "beacon_config.hpp"

namespace beacon {

// ---- StatusFlags ----

uint32_t StatusFlags::pack() const {
    return static_cast<uint32_t>(airtag_base) | (static_cast<uint32_t>(fmdn_base) << 8) |
           (static_cast<uint32_t>(airtag_mode) << 16) | (static_cast<uint32_t>(fmdn_mode) << 20);
}

StatusFlags StatusFlags::unpack(uint32_t raw) {
    StatusFlags f;
    f.airtag_base = static_cast<uint8_t>(raw & 0xFF);
    f.fmdn_base = static_cast<uint8_t>((raw >> 8) & 0xFF);
    f.airtag_mode = static_cast<StatusMode>((raw >> 16) & 0xF);
    f.fmdn_mode = static_cast<StatusMode>((raw >> 20) & 0xF);
    return f;
}

// ---- SettingsManager ----

SettingsManager::SettingsManager(INvsStorage& nvs) : nvs_(nvs) {}

void SettingsManager::read_bool(uint16_t id, bool& dest) {
    int tmp = 0;
    if (nvs_.read(id, &tmp, sizeof(tmp)) > 0) {
        dest = (tmp != 0);
    }
}

// Helper: read a 4-byte int from NVS and pass to a setter.
// If NVS read fails or setter rejects the value, the default from BeaconConfig{} is kept.
template <typename Setter>
static void read_and_apply(INvsStorage& nvs, uint16_t id, Setter setter) {
    int tmp = 0;
    if (nvs.read(id, &tmp, sizeof(tmp)) > 0) {
        setter(tmp);
    }
}

int SettingsManager::load() {
    // Reset to defaults first
    config_ = BeaconConfig{};

    // Read boolean settings from NVS (stored as 4-byte int)
    read_bool(ID_fmdn_NVS, config_.flag_fmdn);
    read_bool(ID_airtag_NVS, config_.flag_airtag);
    read_bool(ID_turnedOn_NVS, config_.turned_on);

    // Read narrowed scalar fields via validated setters.
    // NVS wire format is always 4-byte int; rejected values keep the default.
    read_and_apply(nvs_, ID_period_NVS,
                   [this](int v) { set_mult_period(static_cast<uint8_t>(v)); });
    read_and_apply(nvs_, ID_power_NVS, [this](int v) { set_tx_power(static_cast<uint8_t>(v)); });
    read_and_apply(nvs_, ID_changeInterval_NVS,
                   [this](int v) { set_change_interval(static_cast<uint16_t>(v)); });
    read_and_apply(nvs_, ID_status_NVS,
                   [this](int v) { set_status_flags(static_cast<uint32_t>(v)); });
    read_and_apply(nvs_, ID_accel_NVS,
                   [this](int v) { set_accel_threshold(static_cast<uint16_t>(v)); });

    // Time offset is int64_t
    {
        int64_t tmp = 0;
        if (nvs_.read(ID_timeOffset_NVS, &tmp, sizeof(tmp)) > 0) {
            config_.time_offset = tmp;
        }
    }

    // Settings MAC
    nvs_.read(ID_settingsMAC_NVS, config_.settings_mac.data(), config_.settings_mac.size());

    // Auth code
    nvs_.read(ID_auth_NVS, config_.auth_code.data(), config_.auth_code.size());

    // Load airtag keys from NVS
    if (nvs_.read(ID_key_NVS, config_.keys.data(), sizeof(config_.keys)) > 0) {
        // Count non-zero keys (BUG FIX: original compared against sizeof
        // which is 1120 bytes, not 40 elements)
        int count = 0;
        for (int i = 0; i < kMaxKeysInMemory; i++) {
            bool all_zero = true;
            for (int j = 0; j < kKeySize; j++) {
                if (config_.keys[static_cast<size_t>(i)][static_cast<size_t>(j)] != 0) {
                    all_zero = false;
                    break;
                }
            }
            if (all_zero) {
                break;
            }
            count++;
        }
        config_.num_keys = static_cast<uint8_t>(count);
    } else {
        config_.num_keys = 0;
    }

    // Load FMDN key (fall back to empty default)
    if (nvs_.read(ID_fmdnKey_NVS, config_.fmdn_key.data(), config_.fmdn_key.size()) <= 0) {
        config_.fmdn_key = {};
    }

    return 0;
}

// NVS wire format: all scalar fields stored as 4-byte int for backward compatibility.
// Narrowed C++ types are widened to int before writing.
int SettingsManager::save_field(uint16_t field_id) {
    switch (field_id) {
    case ID_fmdn_NVS: {
        int v = config_.flag_fmdn ? 1 : 0;
        return nvs_.write(field_id, &v, sizeof(v));
    }
    case ID_airtag_NVS: {
        int v = config_.flag_airtag ? 1 : 0;
        return nvs_.write(field_id, &v, sizeof(v));
    }
    case ID_period_NVS: {
        int v = static_cast<int>(config_.mult_period);
        return nvs_.write(field_id, &v, sizeof(v));
    }
    case ID_changeInterval_NVS: {
        int v = static_cast<int>(config_.change_interval);
        return nvs_.write(field_id, &v, sizeof(v));
    }
    case ID_key_NVS:
        return nvs_.write(field_id, config_.keys.data(), sizeof(config_.keys));
    case ID_auth_NVS:
        return nvs_.write(field_id, config_.auth_code.data(), config_.auth_code.size());
    case ID_power_NVS: {
        int v = static_cast<int>(config_.tx_power);
        return nvs_.write(field_id, &v, sizeof(v));
    }
    case ID_fmdnKey_NVS:
        return nvs_.write(field_id, config_.fmdn_key.data(), config_.fmdn_key.size());
    case ID_timeOffset_NVS:
        return nvs_.write(field_id, &config_.time_offset, sizeof(config_.time_offset));
    case ID_settingsMAC_NVS:
        return nvs_.write(field_id, config_.settings_mac.data(), config_.settings_mac.size());
    case ID_status_NVS: {
        int v = static_cast<int>(config_.status_flags);
        return nvs_.write(field_id, &v, sizeof(v));
    }
    case ID_accel_NVS: {
        int v = static_cast<int>(config_.accel_threshold);
        return nvs_.write(field_id, &v, sizeof(v));
    }
    case ID_turnedOn_NVS: {
        int v = config_.turned_on ? 1 : 0;
        return nvs_.write(field_id, &v, sizeof(v));
    }
    default:
        return -1;
    }
}

const BeaconConfig& SettingsManager::config() const {
    return config_;
}

// ---- Validated setters ----

bool SettingsManager::set_mult_period(uint8_t v) {
    if (v != 1 && v != 2 && v != 4 && v != 8)
        return false;
    config_.mult_period = v;
    return true;
}

bool SettingsManager::set_tx_power(uint8_t v) {
    if (v > 2)
        return false;
    config_.tx_power = v;
    return true;
}

bool SettingsManager::set_change_interval(uint16_t v) {
    uint16_t aligned = v - (v % 8); // Align down to multiple of 8
    if (aligned < 32 || v > 7200) {
        return false;
    }
    config_.change_interval = aligned;
    return true;
}

void SettingsManager::set_status_flags(uint32_t v) {
    config_.status_flags = v;
}

bool SettingsManager::set_accel_threshold(uint16_t v) {
    if (v > 16383)
        return false;
    config_.accel_threshold = v;
    return true;
}

void SettingsManager::set_flag_fmdn(bool v) {
    config_.flag_fmdn = v;
}

void SettingsManager::set_flag_airtag(bool v) {
    config_.flag_airtag = v;
}

void SettingsManager::set_turned_on(bool v) {
    config_.turned_on = v;
}

void SettingsManager::set_fmdn_key(const uint8_t* data, size_t len) {
    if (len == config_.fmdn_key.size()) {
        std::memcpy(config_.fmdn_key.data(), data, len);
    }
}

void SettingsManager::set_settings_mac(const uint8_t* data, size_t len) {
    if (len == config_.settings_mac.size()) {
        std::memcpy(config_.settings_mac.data(), data, len);
    }
}

void SettingsManager::set_auth_code(const uint8_t* data, size_t len) {
    if (len == config_.auth_code.size()) {
        std::memcpy(config_.auth_code.data(), data, len);
    }
}

void SettingsManager::set_key_chunk(int key_idx, size_t offset, const uint8_t* data, size_t len) {
    if (key_idx < 0 || key_idx >= kMaxKeysInMemory || len != 14 || (offset != 0 && offset != 14) ||
        offset + len > kKeySize) {
        return;
    }
    std::memcpy(config_.keys[static_cast<size_t>(key_idx)].data() + offset, data, len);
}

void SettingsManager::set_num_keys(uint8_t n) {
    if (n <= kMaxKeysInMemory) {
        config_.num_keys = n;
    }
}

int64_t SettingsManager::get_time(uint32_t uptime_sec) const {
    return config_.time_offset + static_cast<int64_t>(uptime_sec);
}

void SettingsManager::update_time_offset(int64_t new_time, uint32_t uptime_sec) {
    config_.time_offset = new_time - static_cast<int64_t>(uptime_sec);
}

void SettingsManager::save_time(uint32_t uptime_sec) {
    int64_t current = get_time(uptime_sec);
    nvs_.write(ID_timeOffset_NVS, &current, sizeof(current));
}

// ---- GATT validators ----

GattResult validate_field(const uint8_t* buf, size_t len, bool authorized,
                          const GattFieldSpec& spec, int32_t& out) {
    if (len != spec.expected_len) {
        return GattResult::InvalidLength;
    }
    if (!authorized) {
        return GattResult::Unauthorized;
    }

    int32_t value = 0;
    std::memcpy(&value, buf, sizeof(value));

    if (spec.allowed_values != nullptr) {
        bool found = false;
        for (size_t i = 0; i < spec.allowed_count; i++) {
            if (value == spec.allowed_values[i]) {
                found = true;
                break;
            }
        }
        if (!found) {
            return GattResult::OutOfRange;
        }
    } else {
        if (value < spec.min_val || value > spec.max_val) {
            return GattResult::OutOfRange;
        }
    }

    out = value;
    return GattResult::Ok;
}

GattResult validate_auth_code(const uint8_t* buf, size_t len, const uint8_t* stored,
                              size_t code_len) {
    if (len != code_len) {
        return GattResult::InvalidLength;
    }

    // Constant-time comparison
    uint8_t diff = 0;
    for (size_t i = 0; i < code_len; i++) {
        diff |= static_cast<uint8_t>(buf[i] ^ stored[i]);
    }

    return (diff == 0) ? GattResult::Ok : GattResult::Unauthorized;
}

GattResult validate_key_chunk(const uint8_t* /*buf*/, size_t len, bool authorized,
                              int keys_received, int max_keys) {
    if (len != 14) {
        return GattResult::InvalidLength;
    }
    if (!authorized) {
        return GattResult::Unauthorized;
    }
    if (keys_received >= 2 * max_keys) {
        return GattResult::OutOfRange;
    }
    return GattResult::Ok;
}

} // namespace beacon
```

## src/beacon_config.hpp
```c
// beacon_config.hpp — Settings, NVS persistence, GATT validation
#ifndef BEACON_CONFIG_HPP
#define BEACON_CONFIG_HPP

#include <array>
#include <cstddef>
#include <cstdint>
#include <cstring>

#include "beacon_nvs_ids.hpp"

namespace beacon {

// ---- Constants ----
inline constexpr int kMaxKeysInMemory = 40;
inline constexpr int kKeySize = 28;

// ---- Status types ----

/// Status mode for AirTag/FMDN status byte generation.
enum class StatusMode : uint8_t {
    Off = 0,          // Don't touch status byte
    Fixed = 1,        // Broadcast base byte as-is
    Incrementing = 2, // Broadcast keys_changes counter
    Voltage = 3,      // Broadcast battery voltage (mV / 100)
    BatteryLevel = 4, // Broadcast battery level (0..3) OR'd into base byte
    Telemetry = 5,    // Cycle between voltage, accel, temperature each minute
};

/// Decoded view of the packed status_flags field.
struct StatusFlags {
    uint8_t airtag_base = 0x00;
    uint8_t fmdn_base = 0x80;
    StatusMode airtag_mode = StatusMode::Telemetry;
    StatusMode fmdn_mode = StatusMode::BatteryLevel;

    uint32_t pack() const;
    static StatusFlags unpack(uint32_t raw);
};

// ---- BeaconConfig (consolidates all globals from settings.c) ----
//
// All fields are persisted in NVS as 4-byte ints (wire format).
// On load, values are validated against allowed ranges; out-of-range
// values fall back to the defaults shown here.
struct BeaconConfig {
    bool flag_fmdn = false;           // Enable Google Find My Device Network broadcasting
    bool flag_airtag = false;         // Enable Apple AirTag (Offline Finding) broadcasting
    uint8_t mult_period = 2;          // Advertising interval multiplier {1,2,4,8}
    uint8_t tx_power = 2;             // TX power index: 0 = -8 dBm, 1 = 0 dBm, 2 = +4 dBm
    uint16_t change_interval = 6000;  // Key rotation interval in seconds [32..7200], multiple of 8
    uint32_t status_flags = 0x458000; // Packed status byte config (see status_flags encoding below)
    uint16_t accel_threshold = 800;   // Accelerometer movement threshold in mg [0..16383]
    bool turned_on = false;           // Master broadcast enable (persisted across reboots)
    int64_t time_offset = 0;          // Unix time offset: real_time = time_offset + uptime_seconds
    std::array<uint8_t, 8> auth_code = {'a', 'b', 'c', 'd', 'e', 'f', 'g', 'h'}; // GATT auth code
    // MAC address for settings mode. If first and last bytes are zero,
    // use the chip's factory MAC from UICR instead.
    std::array<uint8_t, 6> settings_mac = {0, 0x41, 0x42, 0x43, 0x44, 0};
    std::array<uint8_t, 20> fmdn_key = {}; // Google FMDN encryption key (single key, no rotation)
    std::array<std::array<uint8_t, 28>, 40> keys = {}; // AirTag public key ring
    uint8_t num_keys = 0;                              // Number of valid keys in keys[] [0..40]
};

// ---- status_flags encoding (from main.c) ----
//
// Packed 32-bit field controlling what goes in the AirTag/FMDN status bytes:
//   bits  0..7  — base status byte for AirTag (broadcast as-is in mode 1)
//   bits  8..15 — base status byte for FMDN  (broadcast as-is in mode 1)
//   bits 16..19 — AirTag status mode:
//     0 = off (don't touch status byte)
//     1 = broadcast base byte as-is
//     2 = broadcast incrementing byte (keys_changes counter)
//     3 = broadcast battery voltage (mV / 100)
//     4 = broadcast battery level (0..3) OR'd into base byte bits 6..7
//     5 = telemetry: cycle each minute between voltage, accel byte, temperature
//   bits 20..23 — FMDN status mode (same encoding as AirTag)
//
// Default 0x458000 = AirTag mode 5 (telemetry), FMDN mode 4 (battery level),
//                    AirTag base 0x00, FMDN base 0x80

// ---- INvsStorage interface (for testing) ----
class INvsStorage {
  public:
    virtual int read(uint16_t id, void* data, size_t len) = 0;
    virtual int write(uint16_t id, const void* data, size_t len) = 0;

  protected:
    ~INvsStorage() = default;
};

// ---- SettingsManager ----
class SettingsManager {
  public:
    explicit SettingsManager(INvsStorage& nvs);

    int load();
    int save_field(uint16_t field_id);

    const BeaconConfig& config() const;

    // Validated setters — return false if value rejected, leaving config unchanged.
    bool set_mult_period(uint8_t v);      // Allowed: {1, 2, 4, 8}
    bool set_tx_power(uint8_t v);         // Allowed: 0..2
    bool set_change_interval(uint16_t v); // Range: 32..7200, auto-aligned to multiple of 8
    void set_status_flags(uint32_t v);    // Any value accepted (app-level encoding)
    bool set_accel_threshold(uint16_t v); // Range: 0..16383
    void set_flag_fmdn(bool v);
    void set_flag_airtag(bool v);
    void set_turned_on(bool v);
    void set_fmdn_key(const uint8_t* data, size_t len);     // len must be 20
    void set_settings_mac(const uint8_t* data, size_t len); // len must be 6
    void set_auth_code(const uint8_t* data, size_t len);    // len must be 8
    // Write a 14-byte half of a key. key_idx in [0..39], offset 0 or 14.
    void set_key_chunk(int key_idx, size_t offset, const uint8_t* data, size_t len);
    void set_num_keys(uint8_t n); // [0..40]

    int64_t get_time(uint32_t uptime_sec) const;
    void update_time_offset(int64_t new_time, uint32_t uptime_sec);
    void save_time(uint32_t uptime_sec);

  private:
    INvsStorage& nvs_;
    BeaconConfig config_;

    // Helper: read a bool from NVS (stored as 4-byte int); on failure, leave dest unchanged
    void read_bool(uint16_t id, bool& dest);
};

// ---- GATT validation (pure functions, no Zephyr dependency) ----
struct GattFieldSpec {
    size_t expected_len;
    int32_t min_val;
    int32_t max_val;
    const int32_t* allowed_values; // null = any in range
    size_t allowed_count;
};

enum class GattResult : uint8_t {
    Ok,
    InvalidLength,
    Unauthorized,
    OutOfRange,
};

GattResult validate_field(const uint8_t* buf, size_t len, bool authorized,
                          const GattFieldSpec& spec, int32_t& out);

GattResult validate_auth_code(const uint8_t* buf, size_t len, const uint8_t* stored,
                              size_t code_len);

GattResult validate_key_chunk(const uint8_t* buf, size_t len, bool authorized, int keys_received,
                              int max_keys);

} // namespace beacon

#endif // BEACON_CONFIG_HPP
```

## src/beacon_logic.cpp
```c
// beacon_logic.cpp — Pure computation functions for BLE advertisement
#include "beacon_logic.hpp"

#include <cstring>

namespace beacon {

void derive_mac_from_key(const uint8_t* key, uint8_t* mac_out) {
    mac_out[5] = key[0] | 0xC0;
    mac_out[4] = key[1];
    mac_out[3] = key[2];
    mac_out[2] = key[3];
    mac_out[1] = key[4];
    mac_out[0] = key[5];
}

void fill_adv_template(const uint8_t* key, uint8_t* tmpl, size_t tmpl_size) {
    if (tmpl_size < 30) {
        return;
    }
    std::memcpy(&tmpl[7], &key[6], 22);
    tmpl[29] = static_cast<uint8_t>(key[0] >> 6);
}

bool is_key_empty(const uint8_t* key, size_t len) {
    for (size_t i = 0; i < len; i++) {
        if (key[i] != 0) {
            return false;
        }
    }
    return true;
}

StatusOutput compute_status(const StatusInput& in) {
    StatusOutput out{};

    auto status_airtag = static_cast<uint8_t>(in.status_flags & 0xFF);
    auto status_fmdn = static_cast<uint8_t>((in.status_flags >> 8) & 0xFF);
    auto b_airtag = static_cast<int>((in.status_flags >> 16) & 0xF);
    auto b_fmdn = static_cast<int>((in.status_flags >> 20) & 0xF);

    // --- AirTag status ---
    switch (b_airtag) {
    case 1:
        // Broadcast first byte from statusFlags as is
        break;
    case 2:
        // Broadcast incrementing byte as status byte
        status_airtag = static_cast<uint8_t>(in.keys_changes & 0xFF);
        break;
    case 3:
    case 5:
        // Broadcast battery voltage in status byte
        status_airtag = static_cast<uint8_t>(in.battery_voltage / 100);
        if ((b_airtag == 3) || (in.what_in_status == 0)) {
            break;
        }
        if (in.what_in_status == 1) {
            status_airtag = static_cast<uint8_t>(0x80 | in.accel_byte);
        }
        if (in.what_in_status == 2) {
            // Send temperature in -10..53C range as positive 6-bit integer
            int tmp_temp = (in.temperature + 5) / 10 + 10;
            if (tmp_temp < 0) {
                tmp_temp = 0;
            }
            if (tmp_temp > 63) {
                tmp_temp = 63;
            }
            status_airtag = static_cast<uint8_t>(0x40 | tmp_temp);
        }
        break;
    case 4: {
        // Broadcast battery status
        int battery = 3;
        if (in.battery_voltage > kBatteryLevelFull) {
            battery = 0;
        } else {
            if (in.battery_voltage > kBatteryLevelNormal) {
                battery = 1;
            } else {
                if (in.battery_voltage > kBatteryLevelLow) {
                    battery = 2;
                } else {
                    battery = 3;
                }
            }
        }
        status_airtag = static_cast<uint8_t>(status_airtag | (battery << 6));
        break;
    }
    default:
        break;
    }
    out.airtag_status = status_airtag;

    // --- FMDN status ---
    switch (b_fmdn) {
    case 1:
        // Broadcast first byte from statusFlags as is
        break;
    case 2:
        // Broadcast incrementing byte as status byte
        status_fmdn = static_cast<uint8_t>(in.keys_changes & 0xFF);
        break;
    case 3:
    case 5:
        // Broadcast battery voltage in status byte
        status_fmdn = static_cast<uint8_t>(in.battery_voltage / 100);
        if ((b_fmdn == 3) || (in.what_in_status == 0)) {
            break;
        }
        if (in.what_in_status == 1) {
            status_fmdn = static_cast<uint8_t>(0x80 | in.accel_byte);
        }
        if (in.what_in_status == 2) {
            // Send temperature in -10..53C range as positive 6-bit integer
            int tmp_temp = (in.temperature + 5) / 10 + 10;
            if (tmp_temp < 0) {
                tmp_temp = 0;
            }
            if (tmp_temp > 63) {
                tmp_temp = 63;
            }
            status_fmdn = static_cast<uint8_t>(0x40 | tmp_temp);
        }
        break;
    case 4: {
        // Broadcast battery status
        int battery = 0;
        if (in.battery_voltage > kBatteryLevelNormal) {
            battery = 1;
        } else {
            if (in.battery_voltage > kBatteryLevelLow) {
                battery = 2;
            } else {
                if (in.battery_voltage > 0) {
                    battery = 3;
                } else {
                    battery = 0;
                }
            }
        }
        status_fmdn = static_cast<uint8_t>(status_fmdn | (battery << 5));
        break;
    }
    default:
        break;
    }
    out.fmdn_status = status_fmdn;

    return out;
}

} // namespace beacon
```
